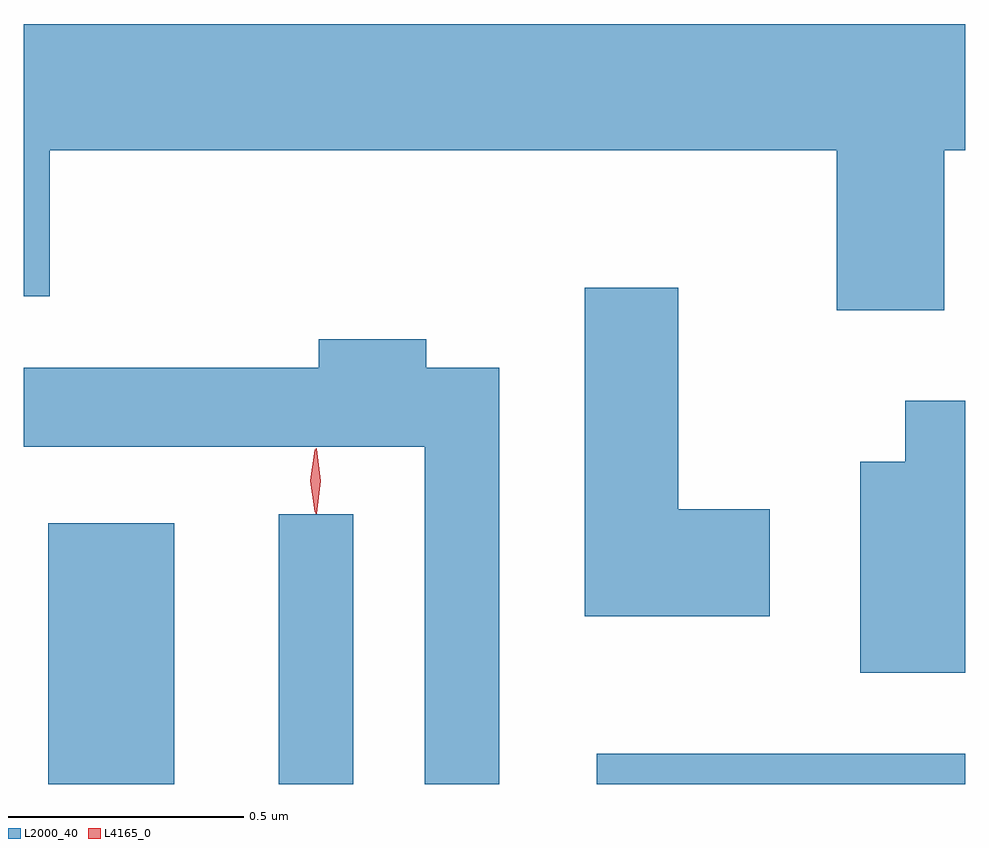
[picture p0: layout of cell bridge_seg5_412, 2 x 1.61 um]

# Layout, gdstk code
import gdstk
lib = gdstk.Library(unit=1e-6, precision=1e-09)
def R(c, l, rs):  # rectangles x0, y0, x1, y1
    for r in rs: c.add(gdstk.rectangle(r[:2], r[2:], *l))
def P(c, l, *ps):  # polygons
    for p in ps: c.add(gdstk.Polygon(p, *l))
L2000_40 = (2000, 40)
L4165_0 = (4165, 0)

bridge_seg5_412 = lib.new_cell('bridge_seg5_412')
R(bridge_seg5_412, L2000_40, [(489.066,1488.75,489.334,1489.304), (489.556,1488.75,489.714,1489.323), (490.231,1488.75,491.014,1488.814)])
P(bridge_seg5_412, L2000_40, [(490.969,1490.096),(491.014,1490.096),(491.014,1490.364),(489.014,1490.364),(489.014,1489.786),(489.069,1489.786),(489.069,1490.096),(490.741,1490.096),(490.741,1489.756),(490.969,1489.756)],
  [(490.599,1489.334),(490.404,1489.334),(490.404,1489.804),(490.206,1489.804),(490.206,1489.106),(490.599,1489.106)],
  [(490.024,1489.634),(489.869,1489.634),(489.869,1489.694),(489.641,1489.694),(489.641,1489.634),(489.014,1489.634),(489.014,1489.466),(489.866,1489.466),(489.866,1488.75),(490.024,1488.75)],
  [(491.014,1489.564),(490.886,1489.564),(490.886,1489.434),(490.791,1489.434),(490.791,1488.986),(491.014,1488.986)])
P(bridge_seg5_412, L4165_0, [(489.634,1489.324),(489.625,1489.394),(489.634,1489.462),(489.635,1489.463),(489.636,1489.462),(489.645,1489.394),(489.636,1489.324),(489.635,1489.324)],
  [(489.633,1489.327),(489.632,1489.328),(489.623,1489.394),(489.632,1489.46),(489.632,1489.46),(489.633,1489.46),(489.642,1489.394),(489.633,1489.328)])

lib.write_gds('bridge_seg5_412.gds')
